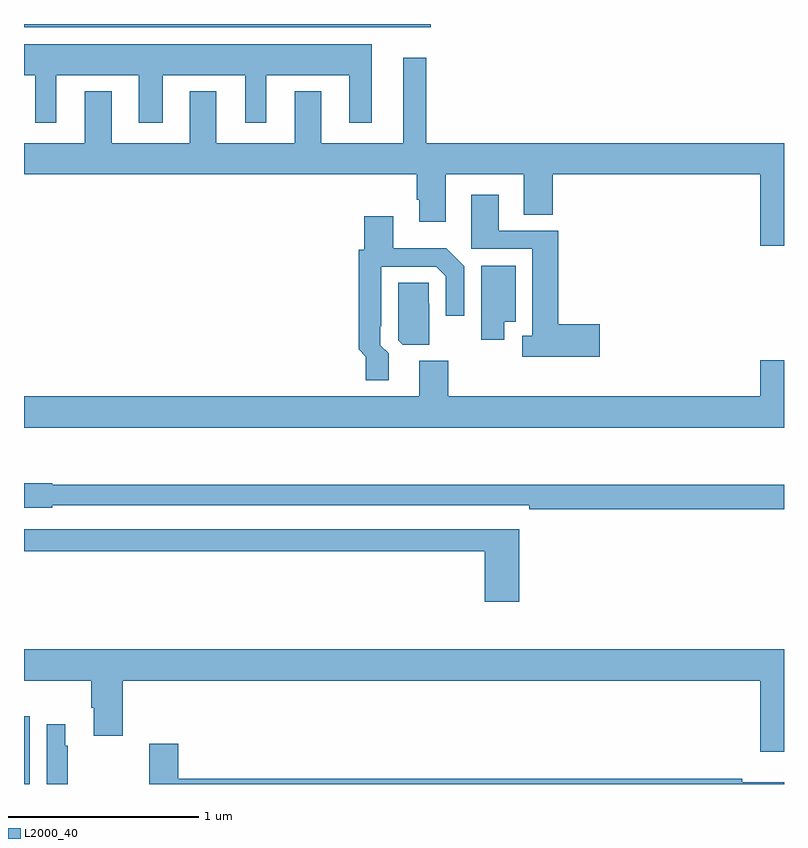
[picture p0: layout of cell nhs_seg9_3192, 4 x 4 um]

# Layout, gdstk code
import gdstk
lib = gdstk.Library(unit=1e-6, precision=1e-09)
def R(c, l, rs):  # rectangles x0, y0, x1, y1
    for r in rs: c.add(gdstk.rectangle(r[:2], r[2:], *l))
def P(c, l, *ps):  # polygons
    for p in ps: c.add(gdstk.Polygon(p, *l))
L2000_40 = (2000, 40)

nhs_seg9_3192 = lib.new_cell('nhs_seg9_3192')
R(nhs_seg9_3192, L2000_40, [(293,1238.5,293.031,1238.856), (293,1242.482,295.141,1242.5)])
P(nhs_seg9_3192, L2000_40, [(293.17,1242.23),(293.603,1242.23),(293.603,1241.979),(293.731,1241.979),(293.731,1242.23),(294.164,1242.23),(294.164,1241.979),(294.274,1241.979),(294.274,1242.23),(294.713,1242.23),(294.713,1241.979),(294.829,1241.979),(294.829,1242.394),(293,1242.394),(293,1242.23),(293.06,1242.23),(293.06,1241.979),(293.17,1241.979)],
  [(297,1241.872),(295.117,1241.872),(295.117,1242.322),(294.995,1242.322),(294.995,1241.872),(294.565,1241.872),(294.565,1242.145),(294.425,1242.145),(294.425,1241.872),(294.013,1241.872),(294.013,1242.145),(293.873,1242.145),(293.873,1241.872),(293.461,1241.872),(293.461,1242.145),(293.321,1242.145),(293.321,1241.872),(293,1241.872),(293,1241.708),(295.067,1241.708),(295.067,1241.575),(295.079,1241.575),(295.079,1241.46),(295.219,1241.46),(295.219,1241.708),(295.631,1241.708),(295.631,1241.497),(295.784,1241.497),(295.784,1241.708),(296.876,1241.708),(296.876,1241.334),(297,1241.334)],
  [(296.029,1240.919),(295.811,1240.919),(295.811,1241.412),(295.498,1241.412),(295.498,1241.602),(295.355,1241.602),(295.355,1241.316),(295.676,1241.316),(295.676,1240.858),(295.623,1240.858),(295.623,1240.749),(296.029,1240.749)],
  [(294.919,1240.766),(294.876,1240.809),(294.876,1240.909),(294.879,1240.909),(294.879,1241.223),(295.17,1241.223),(295.221,1241.172),(295.221,1240.965),(295.317,1240.965),(295.317,1241.226),(295.223,1241.32),(294.943,1241.32),(294.943,1241.488),(294.791,1241.488),(294.791,1241.313),(294.763,1241.313),(294.763,1240.97),(294.761,1240.97),(294.761,1240.788),(294.799,1240.749),(294.799,1240.626),(294.919,1240.626)],
  [(295.528,1240.934),(295.588,1240.934),(295.588,1241.227),(295.406,1241.227),(295.406,1240.839),(295.528,1240.839)],
  [(295.132,1241.027),(295.131,1241.027),(295.131,1241.138),(294.969,1241.138),(294.969,1240.836),(294.993,1240.813),(295.132,1240.813)],
  [(297,1240.729),(296.876,1240.729),(296.876,1240.54),(295.232,1240.54),(295.232,1240.728),(295.079,1240.728),(295.079,1240.54),(293,1240.54),(293,1240.376),(297,1240.376)],
  [(297,1240.075),(293.148,1240.075),(293.148,1240.083),(293,1240.083),(293,1239.953),(293.148,1239.953),(293.148,1239.966),(295.66,1239.966),(295.66,1239.946),(297,1239.946)],
  [(295.607,1239.84),(293,1239.84),(293,1239.724),(295.424,1239.724),(295.424,1239.459),(295.607,1239.459)],
  [(297,1239.208),(293,1239.208),(293,1239.044),(293.354,1239.044),(293.354,1238.902),(293.366,1238.902),(293.366,1238.754),(293.519,1238.754),(293.519,1239.044),(296.876,1239.044),(296.876,1238.67),(297,1238.67)],
  [(293.23,1238.702),(293.218,1238.702),(293.218,1238.815),(293.121,1238.815),(293.121,1238.5),(293.23,1238.5)],
  [(297,1238.509),(296.78,1238.509),(296.78,1238.528),(293.813,1238.528),(293.813,1238.713),(293.659,1238.713),(293.659,1238.5),(297,1238.5)])

lib.write_gds('nhs_seg9_3192.gds')
